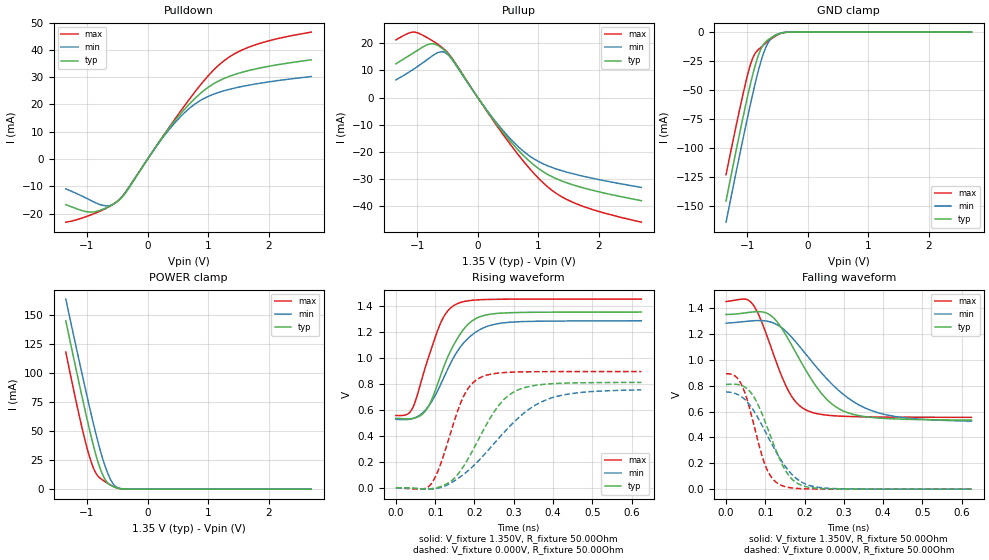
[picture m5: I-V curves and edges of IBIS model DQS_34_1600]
| [Disclaimer]  This software code and all associated documentation, comments
| or other information (collectively "Software") is provided
| "AS IS" without warranty of any kind. MICRON TECHNOLOGY, INC.
| ("MTI") EXPRESSLY DISCLAIMS ALL WARRANTIES EXPRESS OR IMPLIED,
| INCLUDING BUT NOT LIMITED TO, NONINFRINGEMENT OF THIRD PARTY
| RIGHTS, AND ANY IMPLIED WARRANTIES OF MERCHANTABILITY OR
| FITNESS FOR ANY PARTICULAR PURPOSE. MTI DOES NOT WARRANT THAT
| THE SOFTWARE WILL MEET YOUR REQUIREMENTS, OR THAT THE
| OPERATION OF THE SOFTWARE WILL BE UNINTERRUPTED OR ERROR-FREE.
| FURTHERMORE, MTI DOES NOT MAKE ANY REPRESENTATIONS REGARDING
| THE USE OR THE RESULTS OF THE USE OF THE SOFTWARE IN TERMS OF
| ITS CORRECTNESS, ACCURACY, RELIABILITY, OR OTHERWISE. THE
| ENTIRE RISK ARISING OUT OF USE OR PERFORMANCE OF THE SOFTWARE
| REMAINS WITH YOU. IN NO EVENT SHALL MTI, ITS AFFILIATED
| COMPANIES OR THEIR SUPPLIERS BE LIABLE FOR ANY DIRECT,
| INDIRECT, CONSEQUENTIAL, INCIDENTAL, OR SPECIAL DAMAGES
| (INCLUDING, WITHOUT LIMITATION, DAMAGES FOR LOSS OF PROFITS,
| BUSINESS INTERRUPTION, OR LOSS OF INFORMATION) ARISING OUT OF
| YOUR USE OF OR INABILITY TO USE THE SOFTWARE, EVEN IF MTI HAS
| BEEN ADVISED OF THE POSSIBILITY OF SUCH DAMAGES. Because some
| jurisdictions prohibit the exclusion or limitation of
| liability for consequential or incidental damages, the above
| limitation may not apply to you.
| [Copyright] Copyright 2015 Micron Technology, Inc. All rights reserved.
| From v00h_1p35_it.ibs, Micron Technology,Inc.
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| MODEL DQS_34_1600 (34 Ohm Data Strobe I/O with no ODT, 1333/1600Mbps)
[Model]   DQS_34_1600
Model_type   I/O
Vinl = 540.000mV
Vinh = 810.000mV
Vmeas = 675.000mV
Vref = 675.000mV
Cref = 0.0pF
Rref = 25.000Ohm
|   typ   min   max
|C_comp   1.100pF   1.025pF   1.175pF
C_comp_pullup   0.5500pF   0.5125pF   0.5875pF
C_comp_pulldown   0.5500pF   0.5125pF   0.5875pF
[Model Spec]
| Input threshold voltage corners
Vinl   0.5400V   0.5065V   0.5775V
Vinh   0.8100V   0.7765V   0.8475V
| Measurement voltage corners
Vmeas   0.6750V   0.6415V   0.7125V
| Timing spec test load voltage corners
Vref   0.6750V   0.6415V   0.7125V
| Dynamic Overshoot Parameters from DDR3L Specification
|D_overshoot_ampl_h   0.40   NA   NA
|D_overshoot_ampl_l   0.40   NA   NA
|D_overshoot_area_h   0.13n   NA   NA
|D_overshoot_area_l   0.13n   NA   NA
[Receiver Thresholds]
|Vth   =  0.675V
|Vth_min  =  0.6615V
|Vth_max  =  0.6885V
|Vinh_ac  =  0.135V
|Vinh_dc  =  0.090V
|Vinl_ac  = -0.135V
|Vinl_dc  = -0.090V
|Tslew_ac =  5.000ns |Not specified, so set to high value
|Threshold_sensitivity = 0.50
|Reference_supply Pullup_ref
|NOTE: If using the IBISCHK 4.2.1 or older parser, Differential receiver
|threshold parameters must be commented out because the parser generates
|errors for multiple differential models.
Vcross_low   = 0.540V
Vcross_high  = 0.810V
Vdiff_ac   = 270mV
Vdiff_dc   = 180mV
Tdiffslew_ac = 10.000ns |Not specified, so set to high value
[Voltage Range]   1.3500V   1.2830V   1.4250V
[Pullup Reference]   1.3500V   1.2830V   1.4250V
| Junction Temperature (Ambient temp is 35C typ, 95C min, -40C max)
[Temperature Range]   50.0   110.0   -40.0
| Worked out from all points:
|   slope of the pulldown table from 0 to 0.203 V, typ, clamps not added: 30.3 ohm
|   slope of the pullup table from 0 to 0.203 V, typ, clamps not added: 31.4 ohm
|   GND clamp passes 1 mA (typ) near -0.44 V on its own axis
|   POWER clamp passes 1 mA (typ) near -0.50 V on its own axis
|   falling waveform, V_fixture 1.350V, R_fixture 50.00Ohm: 20-80 % time 103ps typ, 145ps min, 70.1ps max; typ from 1.35 V to 0.534 V
|   rising waveform, V_fixture 1.350V, R_fixture 50.00Ohm: 20-80 % time 71.2ps typ, 84.2ps min, 58ps max; typ from 0.534 V to 1.35 V
|   rising waveform, V_fixture 0.000V, R_fixture 50.00Ohm: 20-80 % time 94.2ps typ, 147ps min, 61ps max; typ from 0 V to 0.809 V
|   falling waveform, V_fixture 0.000V, R_fixture 50.00Ohm: 20-80 % time 65.8ps typ, 85.8ps min, 49.2ps max; typ from 0.809 V to 0 V
[Pulldown]
|   Voltage   I(typ)   I(min)   I(max)
-1.35V    -16.69mA   -10.91mA   -23.13mA
-940mV    -19.43mA   -15.15mA   -20.49mA
-695mV    -17.96mA   -17.12mA   -18.16mA
-550mV    -16.28mA   -16.33mA   -16.28mA
-360mV    -12.3mA    -12.01mA   -11.95mA
225mV     7.395mA    7.068mA    7.42mA
570mV     17.26mA    16.15mA    18.34mA
925mV     25.05mA    22.14mA    28.59mA
1.26V     29.52mA    25.02mA    36.02mA
1.495V    31.4mA     26.31mA    39.3mA
1.79V     33.07mA    27.56mA    41.96mA
2.7V      36.37mA    30.24mA    46.53mA
[GND Clamp]
|   Voltage   I(typ)   I(min)   I(max)
-1.35V    -145.9mA   -164.2mA   -123.2mA
-1.085V   -77.39mA   -95.94mA   -57.13mA
-995mV    -55.65mA   -73.68mA   -37.08mA
-930mV    -41.04mA   -58.18mA   -25.36mA
-890mV    -32.79mA   -49mA      -20.33mA
-845mV    -24.55mA   -39.15mA   -16.71mA
-770mV    -14.21mA   -24.56mA   -12.93mA
-670mV    -7.162mA   -10.58mA   -8.571mA
-575mV    -3.962mA   -3.912mA   -4.851mA
-460mV    -1.301mA   -1.033mA   -1.415mA
-340mV    -133.3uA   -121.1uA   -79.23uA
2.7V      0A         0A         0A
[Pullup]
|   Voltage   I(typ)   I(min)   I(max)
-1.35V    12.44mA    6.513mA    21.27mA
-1.15V    15.21mA    9.138mA    23.64mA
-1.015V   17.1mA     11.11mA    24.01mA
-755mV    19.83mA    15.27mA    21.03mA
-540mV    17.22mA    16.57mA    17.52mA
-430mV    14.45mA    14.18mA    14.71mA
150mV     -4.821mA   -4.638mA   -5.017mA
485mV     -14.7mA    -13.9mA    -15.69mA
825mV     -22.88mA   -21.05mA   -25.38mA
1.145V    -28.23mA   -25.09mA   -32.76mA
1.645V    -32.7mA    -28.52mA   -39.35mA
2.7V      -38.04mA   -33.16mA   -45.97mA
[POWER Clamp]
|   Voltage   I(typ)   I(min)   I(max)
-1.35V    145mA      163.7mA    118mA
-1.2V     108mA      127.3mA    80.42mA
-1.07V    76.81mA    96.43mA    50.07mA
-985mV    57.15mA    76.71mA    32.7mA
-915mV    41.82mA    60.95mA    21.03mA
-830mV    25.33mA    42.85mA    11.96mA
-725mV    10.61mA    23.55mA    7.276mA
-675mV    6.297mA    16.06mA    5.562mA
-615mV    3.475mA    8.695mA    3.687mA
-525mV    1.394mA    2.274mA    1.436mA
-300mV    17.28uA    25.96uA    3.42uA
2.7V      0A         0A         0A
[Ramp]
R_load = 50.00Ohm
|   typ   min   max
dV/dt_r   485.599mV/94.171ps  451.020mV/147.003ps 535.731mV/60.926ps
dV/dt_f   489.753mV/102.449ps 454.292mV/144.547ps 536.801mV/70.076ps
[Falling Waveform]
V_fixture = 1.350V
V_fixture_min = 1.283V
V_fixture_max = 1.450V
R_fixture = 50.00Ohm
|   Time   V(typ)   V(min)   V(max)
0s        1.35V      1.283V     1.45V
48ps      1.362V     1.296V     1.469V
69ps      1.37V      1.301V     1.425V
126ps     1.308V     1.277V     999mV
165ps     1.125V     1.181V     727.4mV
206ps     904.5mV    1.033V     608.4mV
275ps     645.9mV    796.4mV    567.4mV
364ps     556.9mV    614.6mV    558.5mV
456ps     540.3mV    551.4mV    556.2mV
625ps     533.8mV    525.9mV    555.3mV
[Rising Waveform]
V_fixture = 1.350V
V_fixture_min = 1.283V
V_fixture_max = 1.450V
R_fixture = 50.00Ohm
|   Time   V(typ)   V(min)   V(max)
0s        533.8mV    525.9mV    555.3mV
39ps      530.3mV    528.4mV    593.8mV
50ps      536.8mV    539.5mV    669.3mV
75ps      589.4mV    597mV      926.7mV
91ps      675.7mV    662.4mV    1.076V
117ps     890mV      814mV      1.287V
155ps     1.139V     1.042V     1.413V
201ps     1.296V     1.191V     1.442V
261ps     1.34V      1.262V     1.448V
625ps     1.35V      1.283V     1.45V
[Rising Waveform]
V_fixture = 0.000V
V_fixture_min = 0.000V
V_fixture_max = 0.000V
R_fixture = 50.00Ohm
|   Time   V(typ)   V(min)   V(max)
0s        -17.84uV   -18.67uV   -17.35uV
68ps      -8.691mV   -9.178mV   -9.789mV
90ps      -7.749mV   -10.49mV   30.33mV
113ps     7.786mV    1.068mV    175.1mV
170ps     154.3mV    97.39mV    687.4mV
216ps     403.8mV    225.1mV    848mV
270ps     662mV      407.7mV    883.6mV
325ps     767.1mV    571mV      890.5mV
431ps     803.8mV    715.7mV    892.6mV
625ps     809.3mV    751.7mV    892.9mV
[Falling Waveform]
V_fixture = 0.000V
V_fixture_min = 0.000V
V_fixture_max = 0.000V
R_fixture = 50.00Ohm
|   Time   V(typ)   V(min)   V(max)
0s        809.3mV    751.7mV    892.9mV
36ps      804.6mV    721.2mV    826.7mV
50ps      784.5mV    686.5mV    726.7mV
66ps      735.2mV    626.8mV    555.3mV
89ps      601.1mV    508.3mV    284.7mV
104ps     485.2mV    420.9mV    153.5mV
139ps     217.1mV    229.6mV    32.11mV
172ps     66.33mV    101mV      7.967mV
217ps     11.66mV    24.94mV    1.781mV
625ps     -17.84uV   -18.67uV   -17.35uV
